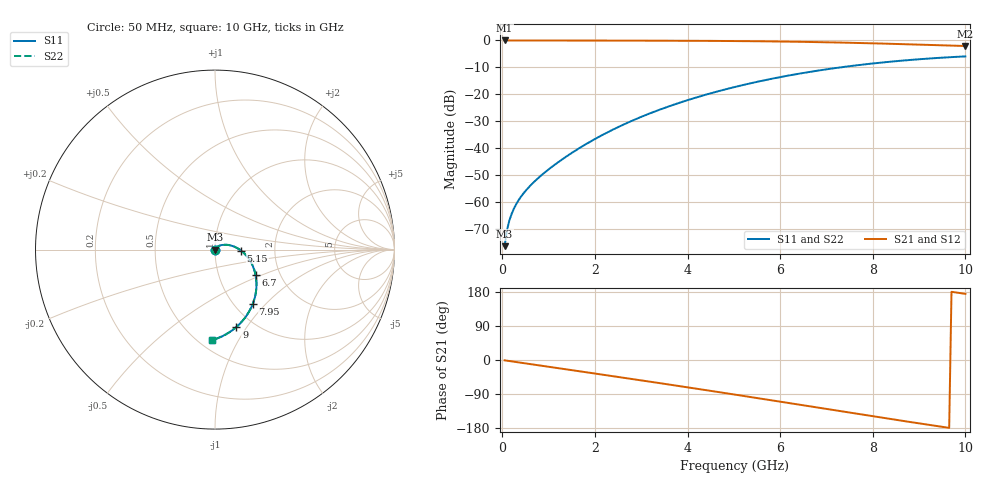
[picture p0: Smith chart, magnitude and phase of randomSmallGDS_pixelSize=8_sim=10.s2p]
! freq	dB(S11)	phase(S11)	dB(S12)	phase(S12)
!  dB(S21)	phase(S21)	dB(S22)	phase(S22)
!S-par simulation data
#  GHz  S  DB  R 50
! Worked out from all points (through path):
!   200 points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, 50 MHz to 10 GHz, reference 50 ohm
!   highest |S21| = 0.00 dB at 50 MHz (marker M1); lowest = -2.1 dB at 10 GHz (marker M2)
!   group delay of S21, straight-line fit = 51.9 ps
!   lowest |S11| = -76.5 dB at 50 MHz (marker M3), VSWR 1.00, Z = 50 + j0.0145 ohm
!   |S11| at or under -10 dB: start of sweep to 7.304 GHz
!   |S22| runs from -76.5 to -5.9 dB; largest |S21 - S12| = 0
!   S11 on the Smith chart (normalised r, x): 50 MHz: 1.00, +0.00; 5.15 GHz: 1.34, -0.02; 6.7 GHz: 1.50, -0.45; 7.95 GHz: 1.20, -0.85; 9 GHz: 0.83, -0.90; 10 GHz: 0.58, -0.78
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0.05  -76.48 75.4  -0.00 -0.9  -0.00 -0.9  -76.49 75.4
0.1  -70.63 81.4  -0.00 -1.8  -0.00 -1.8  -70.63 81.5
0.15  -67.10 83.0  -0.00 -2.7  -0.00 -2.7  -67.10 83.0
0.2  -64.56 83.4  -0.00 -3.6  -0.00 -3.6  -64.56 83.4
0.3  -60.89 83.1  -0.00 -5.4  -0.00 -5.4  -60.89 83.1
0.45  -57.02 81.5  -0.01 -8.1  -0.01 -8.1  -57.03 81.6
0.65  -53.19 79.0  -0.01 -11.6  -0.01 -11.6  -53.19 79.0
0.95  -48.62 74.6  -0.02 -17.0  -0.02 -17.0  -48.63 74.7
1.35  -43.54 68.3  -0.03 -24.1  -0.03 -24.1  -43.54 68.4
1.75  -39.13 61.4  -0.04 -31.2  -0.04 -31.2  -39.13 61.5
2.55  -31.82 46.8  -0.05 -45.6  -0.05 -45.6  -31.82 46.9
3.4  -25.72 30.8  -0.08 -61.0  -0.08 -61.0  -25.73 30.9
4.25  -20.88 14.9  -0.14 -76.7  -0.14 -76.7  -20.88 14.9
5.05  -17.18 -0.3  -0.22 -91.8  -0.22 -91.8  -17.18 -0.2
5.15  -16.76 -2.2  -0.24 -93.7  -0.24 -93.7  -16.76 -2.1
5.9  -13.96 -16.5  -0.37 -108.0  -0.37 -108.0  -13.96 -16.5
6.7  -11.52 -31.8  -0.58 -123.4  -0.58 -123.4  -11.52 -31.8
7.35  -9.89 -44.1  -0.80 -136.0  -0.80 -136.0  -9.89 -44.1
7.95  -8.65 -55.4  -1.04 -147.5  -1.04 -147.5  -8.65 -55.4
8.35  -7.94 -62.8  -1.22 -155.1  -1.22 -155.1  -7.94 -62.8
9  -6.99 -74.6  -1.55 -167.2  -1.55 -167.2  -6.99 -74.6
10  -5.93 -92.1  -2.07 174.6  -2.07 174.6  -5.93 -92.1
